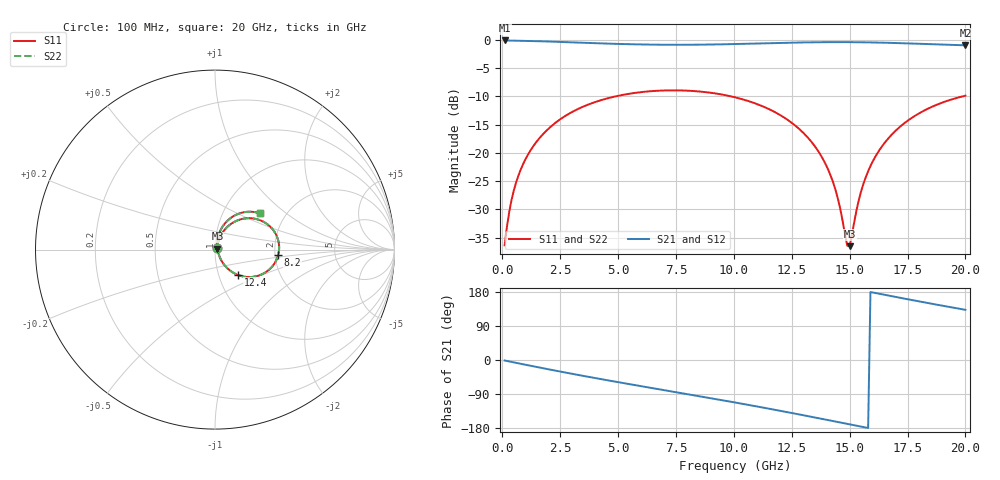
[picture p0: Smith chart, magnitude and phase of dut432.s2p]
! Touchstone file exported from HFSS 2026.1.0
!  File:  C:/ffzhzh/LocalFiles/Ansys_Project_Files/temp_train_TSV_RDL_432_1783097389_50312.aedt
!  Generated:  01:01:16 AM Jul  4, 2026
!  Design:  TSV_RDL
!  Project:  temp_train_TSV_RDL_432_1783097389_50312
! Variables:
!  h_bsmrdl = 4.18um
!  h_ox = 20um
!  h_rdl = 5um
!  h_sub = 92.67um
!  h_tmrdl = 5.93um
!  h_tsv = 92.67um
!  h_via = 3um
!  l_bsmrdl = 117.99um
!  l_sub = 3675.35um
!  l_tmrdl = 695.56um
!  m_sub = 200um
!  pitch = 38.51um
!  r_tsv = 7.99um
!  s_tmrdl = 10um
!  w_bsmrdl = 26.79um
!  w_sub = 500um
!  w_tmrdl = 19.59um
!  x_tsv_center1 = 705.355um
!  x_tsv_center2 = 850.135um
!  x_tsv_center3 = 1565.285um
!  x_tsv_center4 = 1710.065um
!  x_tsv_center5 = 2425.215um
!  x_tsv_center6 = 2569.995um
# GHz S MA R 50.000000
! Terminal data exported
! Port[1] = TM_RDL1_1_T1
! Port[2] = TM_RDL5_1_T1
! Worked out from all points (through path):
!   200 points, 100 MHz to 20 GHz, reference 50 ohm
!   highest |S21| = -0.10 dB at 100 MHz (marker M1); lowest = -1.0 dB at 20 GHz (marker M2)
!   group delay of S21, straight-line fit = 31.3 ps
!   lowest |S11| = -36.5 dB at 15 GHz (marker M3), VSWR 1.03, Z = 51.4 + j0.58 ohm
!   |S11| at or under -10 dB: start of sweep to 4.888 GHz; 9.88 GHz to 19.88 GHz (9.998 GHz wide, 67.2 % of centre)
!   |S22| runs from -36.4 to -8.9 dB; largest |S21 - S12| = 3.6e-14
!   S11 on the Smith chart (normalised r, x): 100 MHz: 1.02, +0.02; 8.2 GHz: 2.08, -0.15; 12.4 GHz: 1.24, -0.36; 20 GHz: 1.48, +0.67
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0.1  0.0152 38.4  0.9883 -1.3  0.9883 -1.3  0.0152 38.4
! Gamma 0 0 0 0
! Port Impedance 50 0 50 0
0.3  0.03007 61.7  0.9865 -3.8  0.9865 -3.8  0.03007 61.7
0.5  0.04668 67.0  0.985 -6.3  0.985 -6.3  0.04669 67.0
1.1  0.09575 66.8  0.9797 -13.7  0.9797 -13.7  0.09575 66.8
2.1  0.1711 57.8  0.966 -25.8  0.966 -25.8  0.1711 57.8
3.5  0.257 42.9  0.9427 -42.0  0.9427 -42.0  0.257 42.9
5.1  0.323 26.2  0.9196 -59.5  0.9196 -59.5  0.323 26.2
6.8  0.3554 9.0  0.9062 -77.6  0.9062 -77.6  0.3554 9.0
8.2  0.3533 -5.0  0.9058 -92.3  0.9058 -92.3  0.3533 -5.0
10.1  0.3086 -24.3  0.9189 -112.6  0.9189 -112.6  0.3086 -24.2
12.4  0.1911 -47.8  0.9439 -138.7  0.9439 -138.7  0.1911 -47.8
13.4  0.1217 -56.8  0.952 -150.5  0.952 -150.5  0.1217 -56.7
14.2  0.06149 -59.4  0.9552 -160.1  0.9552 -160.1  0.06152 -59.2
14.5  0.03889 -54.7  0.9555 -163.7  0.9555 -163.7  0.03896 -54.4
14.9  0.01507 -7.5  0.955 -168.6  0.955 -168.6  0.0153 -7.2
15  0.01495 22.2  0.9547 -169.8  0.9547 -169.8  0.01519 22.0
15.4  0.0385 70.8  0.9531 -174.6  0.9531 -174.6  0.03861 70.5
15.7  0.06117 75.7  0.9512 -178.2  0.9512 -178.2  0.06124 75.4
16.1  0.09175 75.6  0.948 177.0  0.948 177.0  0.09181 75.5
16.7  0.1365 71.7  0.9416 169.8  0.9416 169.8  0.1366 71.5
18.1  0.2298 58.3  0.9222 153.5  0.9222 153.5  0.2298 58.3
20  0.3207 39.1  0.8949 132.4  0.8949 132.4  0.3207 39.0
